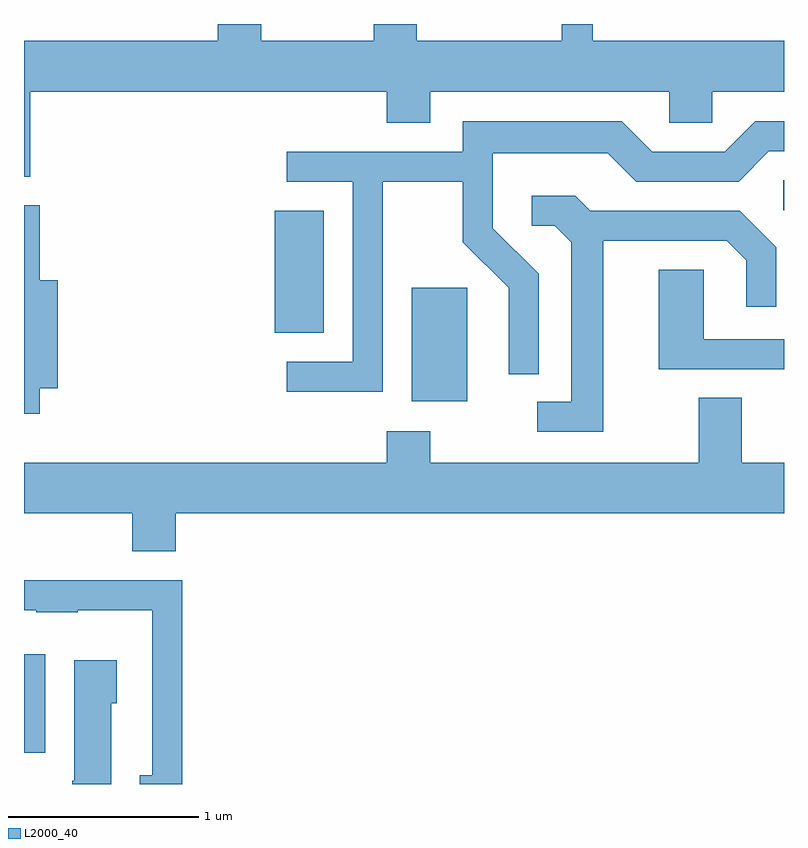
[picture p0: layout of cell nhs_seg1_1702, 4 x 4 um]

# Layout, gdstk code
import gdstk
lib = gdstk.Library(unit=1e-6, precision=1e-09)
def R(c, l, rs):  # rectangles x0, y0, x1, y1
    for r in rs: c.add(gdstk.rectangle(r[:2], r[2:], *l))
def P(c, l, *ps):  # polygons
    for p in ps: c.add(gdstk.Polygon(p, *l))
L2000_40 = (2000, 40)

nhs_seg1_1702 = lib.new_cell('nhs_seg1_1702')
R(nhs_seg1_1702, L2000_40, [(237.611,893.876,237.724,894.394), (239.651,895.726,239.944,896.324), (238.931,896.086,239.189,896.729), (241.608,896.731,241.611,896.889)])
P(nhs_seg1_1702, L2000_40, [(237.644,897.356),(239.521,897.356),(239.521,897.191),(239.749,897.191),(239.749,897.356),(241.006,897.356),(241.006,897.191),(241.234,897.191),(241.234,897.356),(241.611,897.356),(241.611,897.624),(240.604,897.624),(240.604,897.712),(240.441,897.712),(240.441,897.624),(239.679,897.624),(239.679,897.712),(239.451,897.712),(239.451,897.624),(238.859,897.624),(238.859,897.712),(238.631,897.712),(238.631,897.624),(237.611,897.624),(237.611,896.908),(237.644,896.908)],
  [(239.499,896.881),(239.921,896.881),(239.921,896.564),(240.161,896.324),(240.161,895.868),(240.319,895.868),(240.319,896.397),(240.079,896.637),(240.079,897.031),(240.684,897.031),(240.834,896.881),(241.372,896.881),(241.532,897.041),(241.611,897.041),(241.611,897.199),(241.459,897.199),(241.299,897.039),(240.917,897.039),(240.757,897.199),(239.921,897.199),(239.921,897.039),(238.993,897.039),(238.993,896.881),(239.341,896.881),(239.341,895.934),(238.993,895.934),(238.993,895.776),(239.499,895.776)],
  [(240.659,896.571),(241.309,896.571),(241.411,896.469),(241.411,896.223),(241.569,896.223),(241.569,896.537),(241.377,896.729),(240.592,896.729),(240.512,896.809),(240.283,896.809),(240.283,896.651),(240.404,896.651),(240.491,896.564),(240.491,895.724),(240.313,895.724),(240.313,895.566),(240.659,895.566)],
  [(237.694,895.796),(237.789,895.796),(237.789,896.364),(237.694,896.364),(237.694,896.759),(237.611,896.759),(237.611,895.661),(237.694,895.661)],
  [(241.611,896.054),(241.189,896.054),(241.189,896.419),(240.951,896.419),(240.951,895.896),(241.611,895.896)],
  [(238.409,895.136),(241.611,895.136),(241.611,895.404),(241.389,895.404),(241.389,895.744),(241.161,895.744),(241.161,895.404),(239.749,895.404),(239.749,895.569),(239.521,895.569),(239.521,895.404),(237.611,895.404),(237.611,895.136),(238.181,895.136),(238.181,894.936),(238.409,894.936)],
  [(238.444,894.784),(237.611,894.784),(237.611,894.626),(237.675,894.626),(237.675,894.616),(237.895,894.616),(237.895,894.626),(238.286,894.626),(238.286,893.759),(238.221,893.759),(238.221,893.712),(238.444,893.712)],
  [(238.069,894.136),(238.099,894.136),(238.099,894.364),(237.876,894.364),(237.876,893.73),(237.866,893.73),(237.866,893.712),(238.069,893.712)])

lib.write_gds('nhs_seg1_1702.gds')
